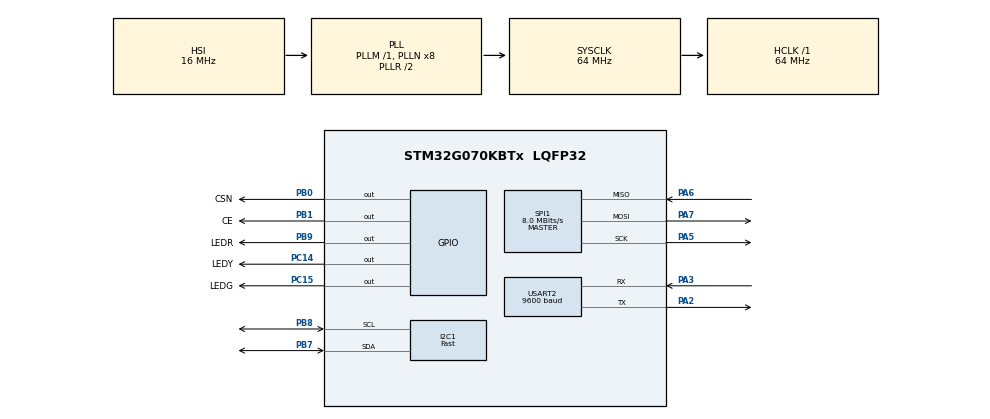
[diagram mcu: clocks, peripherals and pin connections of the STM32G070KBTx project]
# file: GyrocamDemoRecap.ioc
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I2C1.I2C_Speed_Mode=I2C_Fast
I2C1.Timing=0x00602173
Mcu.Family=STM32G0
Mcu.Name=STM32G070KBTx
Mcu.Package=LQFP32
NVIC.USART2_IRQn=true\:0\:0\:false\:false\:true\:true\:true
PA2.Mode=Asynchronous
PA2.Signal=USART2_TX
PA3.Mode=Asynchronous
PA3.Signal=USART2_RX
PA5.GPIO_PuPd=GPIO_PULLDOWN
PA5.Mode=Full_Duplex_Master
PA5.Signal=SPI1_SCK
PA6.GPIO_PuPd=GPIO_PULLDOWN
PA6.Mode=Full_Duplex_Master
PA6.Signal=SPI1_MISO
PA7.GPIO_PuPd=GPIO_PULLDOWN
PA7.Mode=Full_Duplex_Master
PA7.Signal=SPI1_MOSI
PB0.GPIO_Label=CSN
PB0.Signal=GPIO_Output
PB1.GPIO_Label=CE
PB1.Signal=GPIO_Output
PB7.Mode=I2C
PB7.Signal=I2C1_SDA
PB8.Mode=I2C
PB8.Signal=I2C1_SCL
PB9.GPIO_Label=LEDR
PB9.Signal=GPIO_Output
PC14-OSC32_IN\ (PC14).GPIO_Label=LEDY
PC14-OSC32_IN\ (PC14).Signal=GPIO_Output
PC15-OSC32_OUT\ (PC15).GPIO_Label=LEDG
PC15-OSC32_OUT\ (PC15).Signal=GPIO_Output
ProjectManager.HeapSize=0x200
ProjectManager.StackSize=0x400
ProjectManager.TargetToolchain=STM32CubeIDE
RCC.ADCFreq_Value=64000000
RCC.AHBFreq_Value=64000000
RCC.CortexFreq_Value=64000000
RCC.EXTERNAL_CLOCK_VALUE=48000
RCC.HCLKFreq_Value=64000000
RCC.HSE_VALUE=8000000
RCC.HSI_VALUE=16000000
RCC.LSE_VALUE=32768
RCC.SYSCLKFreq_VALUE=64000000
RCC.SYSCLKSource=RCC_SYSCLKSOURCE_PLLCLK
RCC.VCOOutputFreq_Value=128000000
SPI1.BaudRatePrescaler=SPI_BAUDRATEPRESCALER_8
SPI1.CalculateBaudRate=8.0 MBits/s
SPI1.DataSize=SPI_DATASIZE_8BIT
SPI1.Direction=SPI_DIRECTION_2LINES
SPI1.Mode=SPI_MODE_MASTER
SPI1.VirtualType=VM_MASTER
USART2.BaudRate=9600
USART2.VirtualMode-Asynchronous=VM_ASYNC
VP_SYS_VS_DBSignals.Mode=DisableDeadBatterySignals
board=custom

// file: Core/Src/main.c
/* USER CODE BEGIN Header */
/**
  ******************************************************************************
  * @file           : main.c
  * @brief          : Main program body
  ******************************************************************************
  * @attention
  *
  * <h2><center>&copy; Copyright (c) 2021 STMicroelectronics.
  * All rights reserved.</center></h2>
  *
  * This software component is licensed by ST under BSD 3-Clause license,
  * the "License"; You may not use this file except in compliance with the
  * License. You may obtain a copy of the License at:
  *                        opensource.org/licenses/BSD-3-Clause
  *
  ******************************************************************************
  */
/* USER CODE END Header */
#include "main.h"

/* USER CODE BEGIN Includes */
#include <stdarg.h>
#include <stdio.h>
/* USER CODE END Includes */

I2C_HandleTypeDef hi2c1;

SPI_HandleTypeDef hspi1;

UART_HandleTypeDef huart2;

/* USER CODE BEGIN PV */
int tx_ready = 1;
char rx_c[1];
char tx_buffer[100];

/* USER CODE END PV */

void SystemClock_Config(void);
static void MX_GPIO_Init(void);
static void MX_USART2_UART_Init(void);
static void MX_I2C1_Init(void);
static void MX_SPI1_Init(void);

/* USER CODE BEGIN 0 */

void log_i(char *data, ... ){
	if( tx_ready != 1 ) return;

	tx_ready = 0;

	va_list args;

	va_start(args, data);

	vsprintf(tx_buffer,data, args);

	va_end( args);

	HAL_UART_Transmit_IT(&huart2, tx_buffer, strlen(tx_buffer));

}

void HAL_UART_TxCpltCallback(UART_HandleTypeDef *huart)
{
	tx_ready = 1;
}
void HAL_UART_RxCpltCallback(UART_HandleTypeDef *huart)
{
	char c = rx_c[0];
	rxChar(c);

	HAL_UART_Receive_IT(&huart2, rx_c, 1);
}
/* USER CODE END 0 */

int main(void)
{

  /* MCU Configuration--------------------------------------------------------*/

  /* Reset of all peripherals, Initializes the Flash interface and the Systick. */
  HAL_Init();

  /* Configure the system clock */
  SystemClock_Config();

  /* Initialize all configured peripherals */
  MX_GPIO_Init();
  MX_USART2_UART_Init();
  MX_I2C1_Init();
  MX_SPI1_Init();

  /* Infinite loop */
  /* USER CODE BEGIN WHILE */
  HAL_UART_Receive_IT(&huart2, rx_c, 1);
  maincpp();
  while (1)
  {
    /* USER CODE END WHILE */

  }
}

void SystemClock_Config(void)
{
  RCC_OscInitTypeDef RCC_OscInitStruct = {0};
  RCC_ClkInitTypeDef RCC_ClkInitStruct = {0};
  RCC_PeriphCLKInitTypeDef PeriphClkInit = {0};

  /** Configure the main internal regulator output voltage
  */
  HAL_PWREx_ControlVoltageScaling(PWR_REGULATOR_VOLTAGE_SCALE1);
  /** Initializes the RCC Oscillators according to the specified parameters
  * in the RCC_OscInitTypeDef structure.
  */
  RCC_OscInitStruct.OscillatorType = RCC_OSCILLATORTYPE_HSI;
  RCC_OscInitStruct.HSIState = RCC_HSI_ON;
  RCC_OscInitStruct.HSIDiv = RCC_HSI_DIV1;
  RCC_OscInitStruct.HSICalibrationValue = RCC_HSICALIBRATION_DEFAULT;
  RCC_OscInitStruct.PLL.PLLState = RCC_PLL_ON;
  RCC_OscInitStruct.PLL.PLLSource = RCC_PLLSOURCE_HSI;
  RCC_OscInitStruct.PLL.PLLM = RCC_PLLM_DIV1;
  RCC_OscInitStruct.PLL.PLLN = 8;
  RCC_OscInitStruct.PLL.PLLP = RCC_PLLP_DIV2;
  RCC_OscInitStruct.PLL.PLLR = RCC_PLLR_DIV2;
  if (HAL_RCC_OscConfig(&RCC_OscInitStruct) != HAL_OK)
  {
    Error_Handler();
  }
  /** Initializes the CPU, AHB and APB buses clocks
  */
  RCC_ClkInitStruct.ClockType = RCC_CLOCKTYPE_HCLK|RCC_CLOCKTYPE_SYSCLK
                              |RCC_CLOCKTYPE_PCLK1;
  RCC_ClkInitStruct.SYSCLKSource = RCC_SYSCLKSOURCE_PLLCLK;
  RCC_ClkInitStruct.AHBCLKDivider = RCC_SYSCLK_DIV1;
  RCC_ClkInitStruct.APB1CLKDivider = RCC_HCLK_DIV1;

  if (HAL_RCC_ClockConfig(&RCC_ClkInitStruct, FLASH_LATENCY_2) != HAL_OK)
  {
    Error_Handler();
  }
  /** Initializes the peripherals clocks
  */
  PeriphClkInit.PeriphClockSelection = RCC_PERIPHCLK_USART2|RCC_PERIPHCLK_I2C1;
  PeriphClkInit.Usart2ClockSelection = RCC_USART2CLKSOURCE_PCLK1;
  PeriphClkInit.I2c1ClockSelection = RCC_I2C1CLKSOURCE_PCLK1;
  if (HAL_RCCEx_PeriphCLKConfig(&PeriphClkInit) != HAL_OK)
  {
    Error_Handler();
  }
}

static void MX_I2C1_Init(void)
{

  hi2c1.Instance = I2C1;
  hi2c1.Init.Timing = 0x00602173;
  hi2c1.Init.OwnAddress1 = 0;
  hi2c1.Init.AddressingMode = I2C_ADDRESSINGMODE_7BIT;
  hi2c1.Init.DualAddressMode = I2C_DUALADDRESS_DISABLE;
  hi2c1.Init.OwnAddress2 = 0;
  hi2c1.Init.OwnAddress2Masks = I2C_OA2_NOMASK;
  hi2c1.Init.GeneralCallMode = I2C_GENERALCALL_DISABLE;
  hi2c1.Init.NoStretchMode = I2C_NOSTRETCH_DISABLE;
  if (HAL_I2C_Init(&hi2c1) != HAL_OK)
  {
    Error_Handler();
  }
  /** Configure Analogue filter
  */
  if (HAL_I2CEx_ConfigAnalogFilter(&hi2c1, I2C_ANALOGFILTER_ENABLE) != HAL_OK)
  {
    Error_Handler();
  }
  /** Configure Digital filter
  */
  if (HAL_I2CEx_ConfigDigitalFilter(&hi2c1, 0) != HAL_OK)
  {
    Error_Handler();
  }

}

static void MX_SPI1_Init(void)
{

  /* SPI1 parameter configuration*/
  hspi1.Instance = SPI1;
  hspi1.Init.Mode = SPI_MODE_MASTER;
  hspi1.Init.Direction = SPI_DIRECTION_2LINES;
  hspi1.Init.DataSize = SPI_DATASIZE_8BIT;
  hspi1.Init.CLKPolarity = SPI_POLARITY_LOW;
  hspi1.Init.CLKPhase = SPI_PHASE_1EDGE;
  hspi1.Init.NSS = SPI_NSS_SOFT;
  hspi1.Init.BaudRatePrescaler = SPI_BAUDRATEPRESCALER_8;
  hspi1.Init.FirstBit = SPI_FIRSTBIT_MSB;
  hspi1.Init.TIMode = SPI_TIMODE_DISABLE;
  hspi1.Init.CRCCalculation = SPI_CRCCALCULATION_DISABLE;
  hspi1.Init.CRCPolynomial = 7;
  hspi1.Init.CRCLength = SPI_CRC_LENGTH_DATASIZE;
  hspi1.Init.NSSPMode = SPI_NSS_PULSE_ENABLE;
  if (HAL_SPI_Init(&hspi1) != HAL_OK)
  {
    Error_Handler();
  }

}

static void MX_USART2_UART_Init(void)
{

  huart2.Instance = USART2;
  huart2.Init.BaudRate = 9600;
  huart2.Init.WordLength = UART_WORDLENGTH_8B;
  huart2.Init.StopBits = UART_STOPBITS_1;
  huart2.Init.Parity = UART_PARITY_NONE;
  huart2.Init.Mode = UART_MODE_TX_RX;
  huart2.Init.HwFlowCtl = UART_HWCONTROL_NONE;
  huart2.Init.OverSampling = UART_OVERSAMPLING_16;
  huart2.Init.OneBitSampling = UART_ONE_BIT_SAMPLE_DISABLE;
  huart2.Init.ClockPrescaler = UART_PRESCALER_DIV1;
  huart2.AdvancedInit.AdvFeatureInit = UART_ADVFEATURE_NO_INIT;
  if (HAL_UART_Init(&huart2) != HAL_OK)
  {
    Error_Handler();
  }
  if (HAL_UARTEx_SetTxFifoThreshold(&huart2, UART_TXFIFO_THRESHOLD_1_8) != HAL_OK)
  {
    Error_Handler();
  }
  if (HAL_UARTEx_SetRxFifoThreshold(&huart2, UART_RXFIFO_THRESHOLD_1_8) != HAL_OK)
  {
    Error_Handler();
  }
  if (HAL_UARTEx_DisableFifoMode(&huart2) != HAL_OK)
  {
    Error_Handler();
  }

}

static void MX_GPIO_Init(void)
{
  GPIO_InitTypeDef GPIO_InitStruct = {0};

  /* GPIO Ports Clock Enable */
  __HAL_RCC_GPIOB_CLK_ENABLE();
  __HAL_RCC_GPIOC_CLK_ENABLE();
  __HAL_RCC_GPIOA_CLK_ENABLE();

  /*Configure GPIO pin Output Level */
  HAL_GPIO_WritePin(GPIOB, LEDR_Pin|CSN_Pin|CE_Pin, GPIO_PIN_RESET);

  /*Configure GPIO pin Output Level */
  HAL_GPIO_WritePin(GPIOC, LEDY_Pin|LEDG_Pin, GPIO_PIN_RESET);

  /*Configure GPIO pins : LEDR_Pin CSN_Pin CE_Pin */
  GPIO_InitStruct.Pin = LEDR_Pin|CSN_Pin|CE_Pin;
  GPIO_InitStruct.Mode = GPIO_MODE_OUTPUT_PP;
  GPIO_InitStruct.Pull = GPIO_NOPULL;
  GPIO_InitStruct.Speed = GPIO_SPEED_FREQ_LOW;
  HAL_GPIO_Init(GPIOB, &GPIO_InitStruct);

  /*Configure GPIO pins : LEDY_Pin LEDG_Pin */
  GPIO_InitStruct.Pin = LEDY_Pin|LEDG_Pin;
  GPIO_InitStruct.Mode = GPIO_MODE_OUTPUT_PP;
  GPIO_InitStruct.Pull = GPIO_NOPULL;
  GPIO_InitStruct.Speed = GPIO_SPEED_FREQ_LOW;
  HAL_GPIO_Init(GPIOC, &GPIO_InitStruct);

}

void Error_Handler(void)
{
  __disable_irq();
  while (1)
  {
  }
}

/************************ (C) COPYRIGHT STMicroelectronics *****END OF FILE****/
